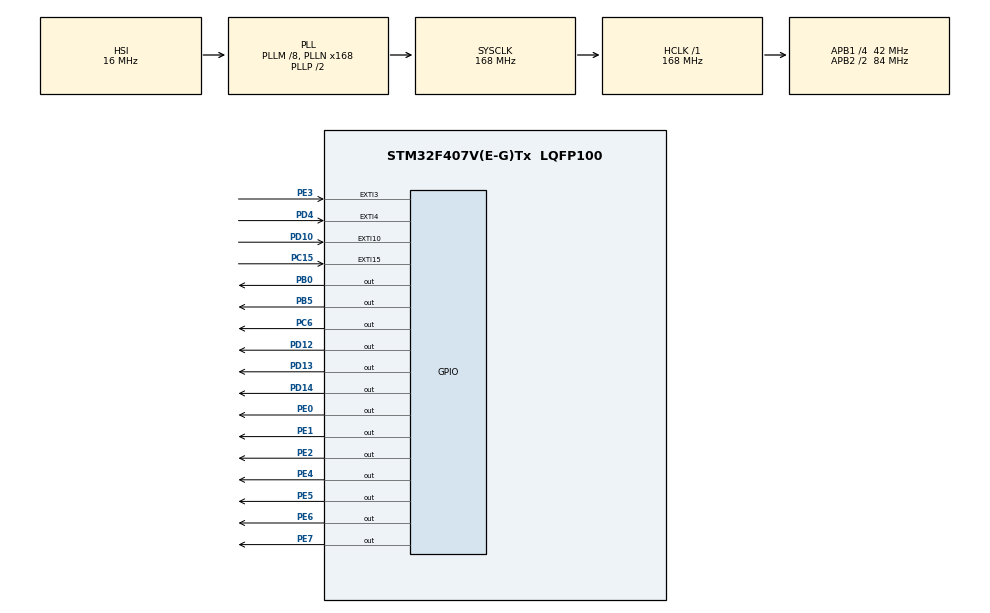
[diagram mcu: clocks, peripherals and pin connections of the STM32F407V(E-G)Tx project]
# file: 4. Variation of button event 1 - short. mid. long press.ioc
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Mcu.Family=STM32F4
Mcu.Name=STM32F407V(E-G)Tx
Mcu.Package=LQFP100
NVIC.EXTI15_10_IRQn=true\:0\:0\:false\:false\:true\:true\:true\:true
NVIC.EXTI3_IRQn=true\:0\:0\:false\:false\:true\:true\:true\:true
NVIC.EXTI4_IRQn=true\:0\:0\:false\:false\:true\:true\:true\:true
NVIC.PriorityGroup=NVIC_PRIORITYGROUP_4
NVIC.TIM6_DAC_IRQn=true\:0\:0\:false\:true\:true\:1\:true\:true\:true
PB0.Signal=GPIO_Output
PB5.Signal=GPIO_Output
PC15-OSC32_OUT.GPIO_ModeDefaultEXTI=GPIO_MODE_IT_RISING_FALLING
PC15-OSC32_OUT.Signal=GPXTI15
PC6.Signal=GPIO_Output
PD10.GPIO_ModeDefaultEXTI=GPIO_MODE_IT_RISING_FALLING
PD10.Signal=GPXTI10
PD12.Signal=GPIO_Output
PD13.Signal=GPIO_Output
PD14.Signal=GPIO_Output
PD4.GPIO_ModeDefaultEXTI=GPIO_MODE_IT_RISING_FALLING
PD4.Signal=GPXTI4
PE0.Signal=GPIO_Output
PE1.Signal=GPIO_Output
PE2.Signal=GPIO_Output
PE3.GPIO_ModeDefaultEXTI=GPIO_MODE_IT_RISING_FALLING
PE3.Signal=GPXTI3
PE4.Signal=GPIO_Output
PE5.Signal=GPIO_Output
PE6.Signal=GPIO_Output
PE7.Signal=GPIO_Output
PH0-OSC_IN.Mode=HSE-External-Oscillator
PH0-OSC_IN.Signal=RCC_OSC_IN
PH1-OSC_OUT.Mode=HSE-External-Oscillator
PH1-OSC_OUT.Signal=RCC_OSC_OUT
ProjectManager.HeapSize=0x200
ProjectManager.StackSize=0x400
ProjectManager.TargetToolchain=STM32CubeIDE
RCC.48MHZClocksFreq_Value=84000000
RCC.AHBFreq_Value=168000000
RCC.APB1CLKDivider=RCC_HCLK_DIV4
RCC.APB1Freq_Value=42000000
RCC.APB1TimFreq_Value=84000000
RCC.APB2CLKDivider=RCC_HCLK_DIV2
RCC.APB2Freq_Value=84000000
RCC.APB2TimFreq_Value=168000000
RCC.CortexFreq_Value=168000000
RCC.HCLKFreq_Value=168000000
RCC.HSE_VALUE=8000000
RCC.HSI_VALUE=16000000
RCC.LSE_VALUE=32768
RCC.PLLM=8
RCC.PLLN=168
RCC.SYSCLKFreq_VALUE=168000000
RCC.SYSCLKSource=RCC_SYSCLKSOURCE_PLLCLK
RCC.VCOOutputFreq_Value=336000000
TIM6.Period=839
TIM6.Prescaler=99
VP_TIM6_VS_ClockSourceINT.Mode=Enable_Timer
board=custom

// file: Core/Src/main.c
/* USER CODE BEGIN Header */
/**
  ******************************************************************************
  * @file           : main.c
  * @brief          : Main program body
  ******************************************************************************
  * @attention
  *
  * Copyright (c) 2024 STMicroelectronics.
  * All rights reserved.
  *
  * This software is licensed under terms that can be found in the LICENSE file
  * in the root directory of this software component.
  * If no LICENSE file comes with this software, it is provided AS-IS.
  *
  ******************************************************************************
  */
/* USER CODE END Header */
#include "main.h"
#include "tim.h"
#include "gpio.h"

/* USER CODE BEGIN Includes */
#include "easyMacros.h"
#include "7SEG.h"
#include "CLCD.h"
#include "lap.h"
#include "stopwatch.h"
#include "button_event.h"
/* USER CODE END Includes */

/* USER CODE BEGIN PV */
CLCD clcd = {"", ""};
Clock_mode clock_mode = BUTTON1;
Lap lap = {0, 0, {}, READY};
Stopwatch stopwatch = {OFF, {0, 0, 0, 0}, STOPPED};
Button button1 = {0, NONE};
/* USER CODE END PV */

void SystemClock_Config(void);
static void MX_NVIC_Init(void);
/* USER CODE BEGIN PFP */
void convert_stopwatch_time_format();
/* USER CODE END PFP */

int main(void)
{

  /* MCU Configuration--------------------------------------------------------*/

  /* Reset of all peripherals, Initializes the Flash interface and the Systick. */
  HAL_Init();

  /* Configure the system clock */
  SystemClock_Config();

  /* Initialize all configured peripherals */
  MX_GPIO_Init();
  MX_TIM6_Init();

  /* Initialize interrupts */
  MX_NVIC_Init();
  /* USER CODE BEGIN 2 */
  L_RED_LED_OFF();
  L_GREEN_LED_OFF();
  L_BLUE_LED_OFF();
  R_RED_LED_OFF();
  R_GREEN_LED_OFF();
  R_BLUE_LED_OFF();

  HAL_TIM_Base_Start_IT(&htim6);
  _7SEG_GPIO_Init();
  CLCD_GPIO_Init();
  CLCD_Init();
  CLCD_Clear();
  /* USER CODE END 2 */

  /* Infinite loop */
  while (1)
  {

    /* USER CODE BEGIN 3 */

	  switch(clock_mode)
	  {
	    case STOPWATCH :
	    	stopwatch_show_time();

			switch(lap.state)
			{
			case MEASURE : lap_measure(); break;
			case DISPLAY_RECORD : lap_display_record(); break;
			case CLEAR : lap_clear(); break;
			}

			break;

		case BUTTON1 :
			switch(button1.state)
			{
			case NONE          : break;
			case PRESS         : button1_show_press_time(); break;
			case SHORT_RELEASE : button1_short_release(); break;
			case MID_RELEASE   : button1_mid_release(); break;
			case LONG_RELEASE  : button1_long_release(); break;
			}

			break;
	  }
  }
  /* USER CODE END 3 */
}

void SystemClock_Config(void)
{
  RCC_OscInitTypeDef RCC_OscInitStruct = {0};
  RCC_ClkInitTypeDef RCC_ClkInitStruct = {0};

  /** Configure the main internal regulator output voltage
  */
  __HAL_RCC_PWR_CLK_ENABLE();
  __HAL_PWR_VOLTAGESCALING_CONFIG(PWR_REGULATOR_VOLTAGE_SCALE1);

  /** Initializes the RCC Oscillators according to the specified parameters
  * in the RCC_OscInitTypeDef structure.
  */
  RCC_OscInitStruct.OscillatorType = RCC_OSCILLATORTYPE_HSI;
  RCC_OscInitStruct.HSIState = RCC_HSI_ON;
  RCC_OscInitStruct.HSICalibrationValue = RCC_HSICALIBRATION_DEFAULT;
  RCC_OscInitStruct.PLL.PLLState = RCC_PLL_ON;
  RCC_OscInitStruct.PLL.PLLSource = RCC_PLLSOURCE_HSI;
  RCC_OscInitStruct.PLL.PLLM = 8;
  RCC_OscInitStruct.PLL.PLLN = 168;
  RCC_OscInitStruct.PLL.PLLP = RCC_PLLP_DIV2;
  RCC_OscInitStruct.PLL.PLLQ = 4;
  if (HAL_RCC_OscConfig(&RCC_OscInitStruct) != HAL_OK)
  {
    Error_Handler();
  }

  /** Initializes the CPU, AHB and APB buses clocks
  */
  RCC_ClkInitStruct.ClockType = RCC_CLOCKTYPE_HCLK|RCC_CLOCKTYPE_SYSCLK
                              |RCC_CLOCKTYPE_PCLK1|RCC_CLOCKTYPE_PCLK2;
  RCC_ClkInitStruct.SYSCLKSource = RCC_SYSCLKSOURCE_PLLCLK;
  RCC_ClkInitStruct.AHBCLKDivider = RCC_SYSCLK_DIV1;
  RCC_ClkInitStruct.APB1CLKDivider = RCC_HCLK_DIV4;
  RCC_ClkInitStruct.APB2CLKDivider = RCC_HCLK_DIV2;

  if (HAL_RCC_ClockConfig(&RCC_ClkInitStruct, FLASH_LATENCY_5) != HAL_OK)
  {
    Error_Handler();
  }
}

/**
  * @brief NVIC Configuration.
  * @retval None
  */
static void MX_NVIC_Init(void)
{
  /* TIM6_DAC_IRQn interrupt configuration */
  HAL_NVIC_SetPriority(TIM6_DAC_IRQn, 0, 0);
  HAL_NVIC_EnableIRQ(TIM6_DAC_IRQn);
}

/* USER CODE BEGIN 4 */
void HAL_TIM_PeriodElapsedCallback(TIM_HandleTypeDef *htim)
{
	if(htim->Instance == TIM6)
	{
		if(stopwatch.state == RUNNING)
		{
			stopwatch.time.milisecond++;
			stopwatch_convert_time_format();
		}

		if(button1.state == PRESS)
		{
			if(button1.milisecond <= MID_LONG_BOUNDARY_TIME)
				button1.milisecond++;
		}
	}
}

void HAL_GPIO_EXTI_Callback(uint16_t GPIO_Pin)
{
	// SW1 press
	if(GPIO_Pin == SW1 && CHECK_SW1_PRESSING())
	{
		L_RED_LED_TOGGLE();

		switch(clock_mode)
		{
		case BUTTON1 :
			button1_start();
			break;
		}
	}

	// SW1 release
	if(GPIO_Pin == SW1 && !CHECK_SW1_PRESSING())
	{
		switch(clock_mode)
		{
		case BUTTON1 :
			button1_measure_release();
			break;
		}
	}

	// SW2
	if(GPIO_Pin == SW2 && CHECK_SW2_PRESSING())
	{
		L_GREEN_LED_TOGGLE();

		switch(clock_mode)
		{
		case STOPWATCH :
			stopwatch_run_and_pause();
			break;
		}
	}

	// SW3
	if(GPIO_Pin == SW3 && CHECK_SW3_PRESSING())
	{
		L_BLUE_LED_TOGGLE();

		switch(clock_mode)
		{
		case STOPWATCH :
			stopwatch_measure_lap_or_stop();
			break;
		}
	}

	// SW4
	if(GPIO_Pin == SW4 && CHECK_SW4_PRESSING())
	{
		R_RED_LED_TOGGLE();

		switch(clock_mode)
		{
		case STOPWATCH :
			stopwatch_dlsplay_record();
		}
	}
}
/* USER CODE END 4 */

void Error_Handler(void)
{
  __disable_irq();
  while (1)
  {
  }
}
